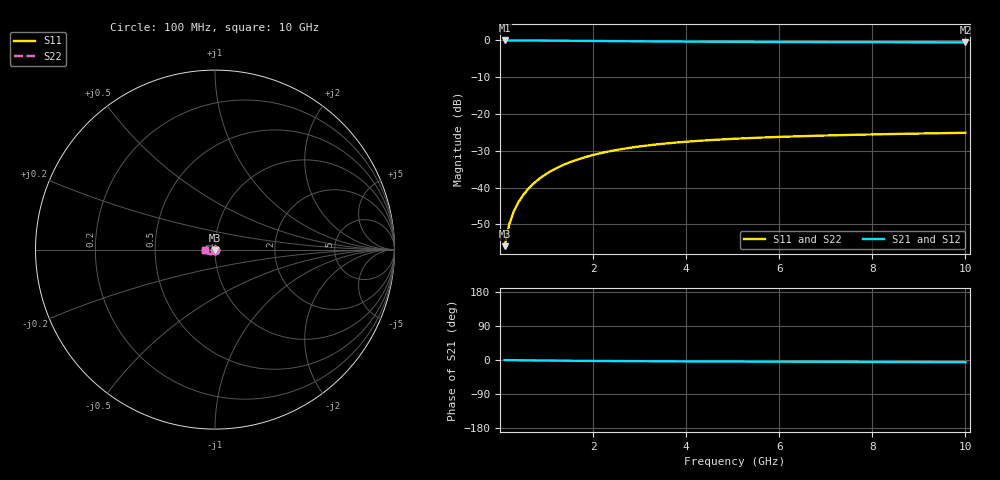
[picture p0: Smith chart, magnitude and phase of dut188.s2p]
! Touchstone file exported from HFSS 2024.1.0
!  File:  C:/UserFiles/LocalFiles/RDL_TSV_Batchsim/temp_TSV1_188_1779384789.aedt
!  Generated:  01:39:35 AM May 22, 2026
!  Design:  TSV1
!  Project:  temp_TSV1_188_1779384789
!  Setup:  Setup1
!  Solution:  Sweep
! Variables:
!  dtsv = 11.85um
!  hbump = 3um
!  htsv = 90.81um
!  lrdl = 252.1521522um
!  p = 40
!  p1 = 54.96um
!  t = 500um
!  trdl = 3um
!  wrdl = 24.89489489um
# GHz S MA R 50.000000
! Terminal data exported
! Port[1] = TSV22_T1
! Port[2] = TSV22_T2
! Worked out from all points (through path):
!   100 points, 100 MHz to 10 GHz, reference 50 ohm
!   highest |S21| = 0.00 dB at 100 MHz (marker M1); lowest = -0.5 dB at 10 GHz (marker M2)
!   lowest |S11| = -55.9 dB at 100 MHz (marker M3), VSWR 1.00, Z = 50 - j0.16 ohm
!   |S11| at or under -10 dB: start of sweep to end of sweep
!   |S22| runs from -55.9 to -25.1 dB; largest |S21 - S12| = 5.9e-15
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0.1  0.001602 -87.9  0.9998 -0.2  0.9998 -0.2  0.001602 -87.9
! Gamma 0 0 0 0
! Port Impedance 50 0 50 0
0.2  0.003199 -91.6  0.9997 -0.3  0.9997 -0.3  0.003199 -91.6
0.3  0.004793 -94.1  0.9994 -0.5  0.9994 -0.5  0.004793 -94.1
0.4  0.006379 -96.3  0.999 -0.6  0.999 -0.6  0.006379 -96.3
0.5  0.007952 -98.3  0.9985 -0.7  0.9985 -0.7  0.007952 -98.3
0.6  0.009506 -100.3  0.998 -0.9  0.998 -0.9  0.009506 -100.3
0.7  0.01104 -102.2  0.9973 -1.0  0.9973 -1.0  0.01104 -102.2
0.8  0.01254 -104.1  0.9966 -1.2  0.9966 -1.2  0.01254 -104.1
0.9  0.01402 -106.0  0.9958 -1.3  0.9958 -1.3  0.01402 -106.0
1.1  0.01686 -109.6  0.994 -1.5  0.994 -1.5  0.01686 -109.6
1.4  0.02085 -114.8  0.991 -1.9  0.991 -1.9  0.02085 -114.8
1.6  0.02332 -118.0  0.9889 -2.1  0.9889 -2.1  0.02332 -118.0
1.8  0.02562 -121.1  0.9866 -2.3  0.9866 -2.3  0.02562 -121.1
2.1  0.02877 -125.5  0.9832 -2.6  0.9832 -2.6  0.02877 -125.5
2.5  0.03244 -130.8  0.9788 -2.9  0.9788 -2.9  0.03244 -130.8
2.9  0.03558 -135.7  0.9746 -3.1  0.9746 -3.1  0.03557 -135.7
3.4  0.03885 -141.1  0.9698 -3.4  0.9698 -3.4  0.03885 -141.1
4.2  0.04293 -148.5  0.9634 -3.7  0.9634 -3.7  0.04293 -148.5
5.1  0.04633 -155.4  0.9578 -4.1  0.9578 -4.1  0.04633 -155.4
6.7  0.05049 -165.3  0.9507 -4.7  0.9507 -4.7  0.05049 -165.3
8.4  0.05348 -173.5  0.9458 -5.2  0.9458 -5.2  0.05348 -173.5
10  0.05563 180.0  0.9427 -5.8  0.9427 -5.8  0.05562 180.0
